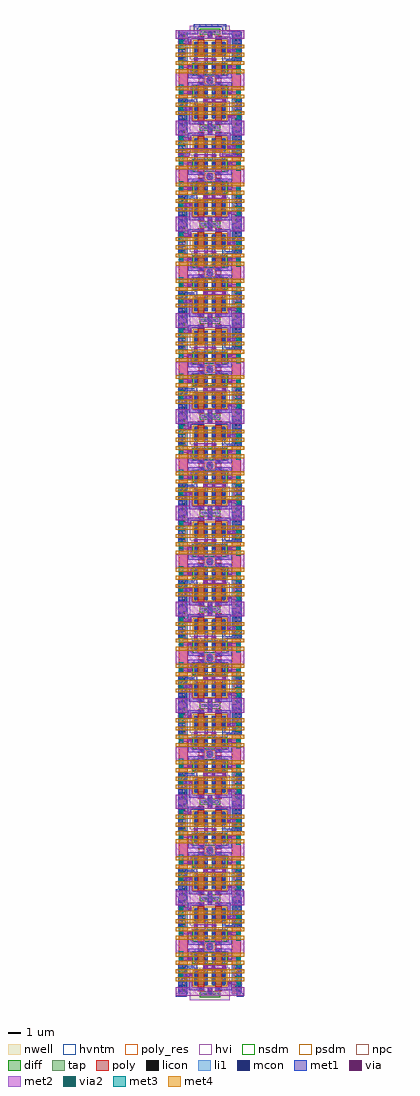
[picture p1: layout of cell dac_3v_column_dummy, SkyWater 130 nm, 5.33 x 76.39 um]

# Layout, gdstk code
from math import pi, radians
import gdstk
lib = gdstk.Library(unit=1e-6, precision=1e-09)
def R(c, l, rs):  # rectangles x0, y0, x1, y1
    for r in rs: c.add(gdstk.rectangle(r[:2], r[2:], *l))
def A(c, l, x, y, w, h, nx, ny, dx, dy):  # array of equal rectangles
    R(c, l, [(x+i*dx, y+j*dy, x+i*dx+w, y+j*dy+h) for i in range(nx) for j in range(ny)])
nwell = (64, 20)
diff = (65, 20)
tap = (65, 44)
poly_res = (66, 13)
poly = (66, 20)
licon = (66, 44)
li1 = (67, 20)
mcon = (67, 44)
met1 = (68, 20)
via = (68, 44)
met2 = (69, 20)
via2 = (69, 44)
met3 = (70, 20)
met4 = (71, 20)
hvi = (75, 20)
nsdm = (93, 44)
psdm = (94, 20)
npc = (95, 20)
hvntm = (125, 20)

poly_res_200ohm = lib.new_cell('poly_res_200ohm')
R(poly_res_200ohm, poly_res, [(-2.07,1.91,-1.36,4.87)])
R(poly_res_200ohm, poly, [(-2.07,-0.38,-1.36,7.155)])
A(poly_res_200ohm, licon, -1.8, -0.135, 0.17, 0.17, 1, 6, 0, 0.34)
A(poly_res_200ohm, licon, -1.8, 5.045, 0.17, 0.17, 1, 6, 0, 0.34)
R(poly_res_200ohm, li1, [(-2.07,-0.38,-1.36,1.91), (-2.07,4.87,-1.36,7.155)])
A(poly_res_200ohm, mcon, -2.035, -0.185, 0.17, 0.17, 1, 6, 0, 0.36)
A(poly_res_200ohm, mcon, -2.035, 4.995, 0.17, 0.17, 1, 6, 0, 0.36)
R(poly_res_200ohm, met1, [(-2.125,-0.38,-1.77,1.91), (-2.125,4.87,-1.77,7.155)])
R(poly_res_200ohm, npc, [(-1.9,-0.235,-1.53,1.835), (-1.9,4.945,-1.53,7.015)])

sky130_fd_pr__nfet_g5v0d = lib.new_cell('sky130_fd_pr__nfet_g5v0d10v5_NHLDUY')
R(sky130_fd_pr__nfet_g5v0d, diff, [(-0.54,-0.17,0.54,0.48)])
R(sky130_fd_pr__nfet_g5v0d, poly, [(-0.25,-0.61,0.25,0.61)])
R(sky130_fd_pr__nfet_g5v0d, licon, [(-0.085,-0.53,0.085,-0.36), (-0.48,-0.1,-0.31,0.07), (0.31,-0.1,0.48,0.07), (-0.48,0.24,-0.31,0.41), (0.31,0.24,0.48,0.41)])
R(sky130_fd_pr__nfet_g5v0d, li1, [(-0.25,-0.53,0.25,-0.36), (-0.48,-0.19,-0.31,0.5), (0.31,-0.19,0.48,0.5)])
R(sky130_fd_pr__nfet_g5v0d, mcon, [(-0.085,-0.53,0.085,-0.36), (-0.48,-0.11,-0.31,0.06), (0.31,-0.11,0.48,0.06), (-0.48,0.25,-0.31,0.42), (0.31,0.25,0.48,0.42)])
R(sky130_fd_pr__nfet_g5v0d, met1, [(-0.23,-0.56,0.23,-0.33), (-0.51,-0.17,-0.28,0.48), (0.28,-0.17,0.51,0.48)])
R(sky130_fd_pr__nfet_g5v0d, hvi, [(-0.725,-0.355,0.725,0.665)])
R(sky130_fd_pr__nfet_g5v0d, nsdm, [(-0.665,-0.295,0.665,0.605)])
R(sky130_fd_pr__nfet_g5v0d, npc, [(-0.185,-0.63,0.185,-0.26)])
R(sky130_fd_pr__nfet_g5v0d, hvntm, [(-0.725,-0.355,0.725,0.665)])

sky130_fd_pr__pfet_g5v0d = lib.new_cell('sky130_fd_pr__pfet_g5v0d10v5_9992MR')
R(sky130_fd_pr__pfet_g5v0d, nwell, [(-0.72,-0.99,0.72,0.82)])
R(sky130_fd_pr__pfet_g5v0d, diff, [(-0.54,-0.68,0.54,0.32)])
R(sky130_fd_pr__pfet_g5v0d, poly, [(-0.25,-0.81,0.25,0.805)])
A(sky130_fd_pr__pfet_g5v0d, licon, -0.48, -0.605, 0.17, 0.17, 1, 3, 0, 0.34)
A(sky130_fd_pr__pfet_g5v0d, licon, 0.31, -0.605, 0.17, 0.17, 1, 3, 0, 0.34)
R(sky130_fd_pr__pfet_g5v0d, licon, [(-0.085,0.555,0.085,0.725)])
R(sky130_fd_pr__pfet_g5v0d, li1, [(-0.48,-0.7,-0.31,0.34), (0.31,-0.7,0.48,0.34), (-0.25,0.555,0.25,0.725)])
R(sky130_fd_pr__pfet_g5v0d, mcon, [(-0.48,-0.445,-0.31,-0.275), (0.31,-0.445,0.48,-0.275), (-0.48,-0.085,-0.31,0.085), (0.31,-0.085,0.48,0.085), (-0.085,0.555,0.085,0.725)])
R(sky130_fd_pr__pfet_g5v0d, met1, [(-0.51,-0.68,-0.28,0.32), (0.28,-0.68,0.51,0.32), (-0.23,0.525,0.23,0.755)])
R(sky130_fd_pr__pfet_g5v0d, hvi, [(-0.72,-0.99,0.72,-0.865), (-0.725,-0.865,0.725,0.505), (-0.72,0.505,0.72,0.82)])
R(sky130_fd_pr__pfet_g5v0d, psdm, [(-0.665,-0.805,0.665,0.445)])
R(sky130_fd_pr__pfet_g5v0d, npc, [(-0.185,0.455,0.185,0.825)])

dac_3v_cell_dummy = lib.new_cell('dac_3v_cell_dummy')
R(dac_3v_cell_dummy, nwell, [(1.59,-1.375,4.71,1.14), (1.58,4.46,4.71,7.05)])
R(dac_3v_cell_dummy, tap, [(2.48,-1.045,3.835,-0.815), (2.865,2.625,3.435,2.975), (2.48,6.49,3.835,6.72)])
A(dac_3v_cell_dummy, licon, 2.73, -1.015, 0.17, 0.17, 3, 2, 0.34, 7.535)
R(dac_3v_cell_dummy, licon, [(3.07,2.715,3.24,2.885)])
R(dac_3v_cell_dummy, li1, [(2.48,-1.045,3.835,-0.815), (3.065,-0.815,3.26,-0.425), (2.995,2.57,3.32,3.03), (3.065,6.11,3.26,6.49), (2.48,6.49,3.835,6.72)])
R(dac_3v_cell_dummy, mcon, [(3.075,-0.715,3.245,-0.545), (3.07,2.715,3.24,2.885), (3.075,6.22,3.245,6.39)])
R(dac_3v_cell_dummy, met1, [(0.775,-1.115,1.34,-0.84), (3,-0.925,3.325,-0.36), (1.17,-0.84,1.34,1.12), (1.5,-0.625,2.23,-0.395), (4.07,-0.625,4.85,-0.395), (1.5,-0.395,1.76,0.74), (4.59,-0.395,4.85,0.11), (1.95,0.81,2.18,1.12), (2.74,0.81,2.97,1.06), (3.33,0.81,3.56,1.06), (4.12,0.81,4.35,1.06), (2.725,1.06,2.985,1.38), (3.315,1.06,3.575,1.38), (4.105,1.06,4.365,1.38), (1.17,1.12,2.18,1.29), (1.95,1.29,2.18,1.605), (2.74,1.38,2.97,1.605), (3.33,1.38,3.56,1.605), (4.12,1.38,4.35,1.605), (4.59,1.625,4.85,2.415), (1.45,1.72,1.71,2.415), (1.45,2.415,2.23,2.645), (4.07,2.415,4.85,2.645), (3.02,2.53,3.295,2.59), (2.965,2.59,3.355,3.01), (1.45,2.955,2.23,3.185), (4.07,2.955,4.85,3.185), (3.02,3.01,3.295,3.075), (1.45,3.185,1.71,4.065), (4.59,3.185,4.85,3.975), (1.95,3.995,2.18,4.235), (2.74,3.995,2.97,4.235), (3.33,3.995,3.56,4.235), (4.12,3.995,4.35,4.31), (1.935,4.235,2.195,4.555), (2.725,4.235,2.985,4.555), (3.315,4.235,3.575,4.555), (4.12,4.31,5.13,4.48), (4.12,4.48,4.35,4.79), (4.96,4.48,5.13,6.42), (1.95,4.555,2.18,4.79), (2.74,4.555,2.97,4.79), (3.33,4.555,3.56,4.79), (4.54,4.92,4.8,5.995), (1.45,5.57,1.71,5.995), (1.45,5.995,2.23,6.225), (4.07,5.995,4.8,6.225), (3,6.045,3.325,6.61), (4.96,6.42,5.525,6.695)])
R(dac_3v_cell_dummy, via, [(3.085,-0.7,3.235,-0.55), (4.645,-0.125,4.795,0.025), (1.555,0.505,1.705,0.655), (2.78,1.145,2.93,1.295), (3.37,1.145,3.52,1.295), (4.16,1.145,4.31,1.295), (4.645,1.71,4.795,1.86), (1.505,1.805,1.655,1.955), (3.08,2.725,3.23,2.875), (4.645,3.74,4.795,3.89), (1.505,3.83,1.655,3.98), (1.99,4.32,2.14,4.47), (2.78,4.32,2.93,4.47), (3.37,4.32,3.52,4.47), (4.595,5.025,4.745,5.175), (1.505,5.675,1.655,5.825), (3.085,6.23,3.235,6.38)])
R(dac_3v_cell_dummy, met2, [(0.495,-1.05,5.83,-0.36), (1.5,-0.36,1.76,0.45), (4.59,-0.36,4.85,-0.18), (5.22,-0.19,5.59,-0.18), (4.56,-0.18,5.59,0.08), (5.22,0.08,5.59,0.09), (0.715,0.44,1.085,0.45), (0.715,0.45,1.79,0.71), (0.715,0.71,1.085,0.72), (2.645,1.08,4.415,1.36), (3.26,1.36,3.655,1.365), (5.215,1.645,5.585,1.655), (4.56,1.655,5.585,1.915), (0.715,1.74,1.085,1.75), (0.715,1.75,1.74,2.01), (4.59,1.915,4.85,2.265), (5.215,1.915,5.585,1.925), (0.715,2.01,1.085,2.02), (1.45,2.01,1.71,2.265), (0.495,2.265,5.83,3.39), (1.45,3.39,1.71,3.775), (4.59,3.39,4.85,3.685), (5.215,3.675,5.585,3.685), (4.56,3.685,5.585,3.945), (0.715,3.765,1.085,3.775), (0.715,3.775,1.74,4.035), (5.215,3.945,5.585,3.955), (0.715,4.035,1.085,4.045), (1.88,4.255,3.645,4.535), (5.215,4.96,5.585,4.97), (4.51,4.97,5.585,5.23), (4.54,5.23,4.8,6.05), (5.215,5.23,5.585,5.24), (0.72,5.61,1.09,5.62), (0.72,5.62,1.74,5.88), (0.72,5.88,1.09,5.89), (1.45,5.88,1.71,6.05), (0.495,6.05,5.83,6.735)])
R(dac_3v_cell_dummy, via2, [(5.305,-0.15,5.505,0.05), (0.8,0.48,1,0.68), (5.3,1.685,5.5,1.885), (0.8,1.78,1,1.98), (5.3,3.715,5.5,3.915), (0.8,3.805,1,4.005), (5.3,5,5.5,5.2), (0.805,5.65,1.005,5.85)])
R(dac_3v_cell_dummy, met3, [(5.24,-0.24,5.57,0.51), (0.735,0.39,1.065,1.14), (5.235,1.205,5.565,1.965), (0.735,1.69,1.065,2.44), (5.235,3.255,5.565,4.005), (0.735,3.655,1.065,4.41), (5.235,4.54,5.565,5.29), (0.74,5.19,1.07,5.94)])
A(dac_3v_cell_dummy, met4, 0.495, 0.09, 5.335, 0.3, 1, 4, 0, 0.645)
A(dac_3v_cell_dummy, met4, 0.495, 3.36, 5.335, 0.3, 1, 4, 0, 0.645)
R(dac_3v_cell_dummy, met4, [(5.24,0.085,5.57,0.09), (5.24,0.39,5.57,0.415), (0.735,0.715,1.065,0.735), (0.735,1.035,1.065,1.045), (5.235,1.365,5.565,1.38), (5.235,1.68,5.565,1.695), (0.735,2.01,1.065,2.025), (0.735,2.325,1.065,2.34), (5.235,3.345,5.565,3.36), (5.235,3.66,5.565,3.675), (0.735,3.99,1.065,4.005), (0.735,4.305,1.065,4.32), (5.235,4.635,5.565,4.65), (5.235,4.95,5.565,4.965), (0.74,5.28,1.07,5.295), (0.74,5.595,1.07,5.61)])
R(dac_3v_cell_dummy, hvi, [(1.59,-1.375,4.71,1.14), (1.735,1.14,4.565,1.42), (2.68,2.38,3.62,3.22), (1.735,4.18,4.565,4.46), (1.58,4.46,4.71,7.05)])
R(dac_3v_cell_dummy, nsdm, [(2.355,-1.17,3.96,-0.69), (3.125,1.48,3.175,2.38), (3.125,3.22,3.175,4.12), (2.355,6.365,3.96,6.845)])
R(dac_3v_cell_dummy, psdm, [(3.125,-0.315,3.175,0.935), (2.74,2.5,3.56,3.1), (3.125,4.665,3.175,5.915)])
R(dac_3v_cell_dummy, npc, [(2.275,2.715,2.645,2.885), (3.655,2.715,4.025,2.885)])
dac_3v_cell_dummy.add(gdstk.Reference(poly_res_200ohm, (2.8,-0.54)))
dac_3v_cell_dummy.add(gdstk.Reference(sky130_fd_pr__nfet_g5v0d, (2.46,3.515)))
dac_3v_cell_dummy.add(gdstk.Reference(sky130_fd_pr__nfet_g5v0d, (2.46,2.085), x_reflection=True))
dac_3v_cell_dummy.add(gdstk.Reference(sky130_fd_pr__pfet_g5v0d, (2.46,5.47)))
dac_3v_cell_dummy.add(gdstk.Reference(sky130_fd_pr__pfet_g5v0d, (2.46,0.13), x_reflection=True))
dac_3v_cell_dummy.add(gdstk.Reference(sky130_fd_pr__nfet_g5v0d, (3.84,3.515)))
dac_3v_cell_dummy.add(gdstk.Reference(sky130_fd_pr__nfet_g5v0d, (3.84,2.085), x_reflection=True))
dac_3v_cell_dummy.add(gdstk.Reference(sky130_fd_pr__pfet_g5v0d, (3.84,5.47)))
dac_3v_cell_dummy.add(gdstk.Reference(sky130_fd_pr__pfet_g5v0d, (3.84,0.13), x_reflection=True))
dac_3v_cell_dummy.add(gdstk.Reference(poly_res_200ohm, (3.505,-0.54), rotation=pi, x_reflection=True))

dac_3v_column_dummy = lib.new_cell('dac_3v_column_dummy')
R(dac_3v_column_dummy, met1, [(-0.09,0.225,0.19,0.5), (4.69,0.225,5.235,0.5), (-0.09,8.035,0.19,8.62), (4.94,8.04,5.235,8.625), (4.685,65.925,4.945,66.245), (0.18,65.93,0.44,66.25), (0.14,75.555,0.49,75.575), (0.14,75.575,1.64,75.89), (3.52,75.575,4.38,75.85), (3.52,75.85,3.855,76.095), (1.305,75.89,1.64,76.095), (1.305,76.095,3.855,76.36)])
R(dac_3v_column_dummy, via, [(4.74,66.01,4.89,66.16), (0.235,66.015,0.385,66.165)])
R(dac_3v_column_dummy, met2, [(3.325,65.955,4.975,66.215), (0.15,65.96,0.97,66.22), (3.325,66.215,3.585,66.39), (0.71,66.22,0.97,66.39), (0.71,66.39,3.585,66.65)])
r = gdstk.Reference(dac_3v_cell_dummy, (-0.585,1.34)); r.repetition = gdstk.Repetition(1, 10, v1=(5.335,0), v2=(0,7.535)); dac_3v_column_dummy.add(r)

lib.write_gds('dac_3v_column_dummy.gds')
